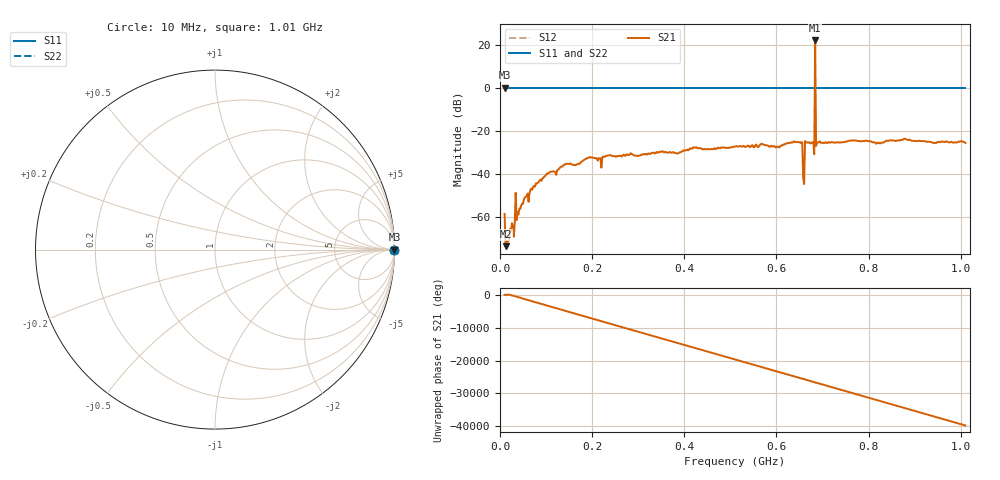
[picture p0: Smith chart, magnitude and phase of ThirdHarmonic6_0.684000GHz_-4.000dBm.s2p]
! 8/15/2025 10:48:43 PM
! C:\ANRITSUVNA\TEMP\TEMP.S2P
! CHANNEL.1
! TR.MEASUREMENT
! RAW.DATA
! RF.CORRECTION.OFF
! AVERAGING.OFF
! IF.BANDWIDTH: 5KHZ
! SWEEPTYPE:  FREQ.SWEEP(Linear)
! Reference Plane Port Info
! PORT:  PORT1  PORT2
! DISTANCE:  0  m  0  m
! TIME:  0  s  0  s
! PHASE.OFFSET:  0  deg.  0  deg.
! LOSS:  0  dB  0  dB
! REF.LOSS:  0  dB  0  dB
! REF.FREQ:  0  Hz  0  Hz
! Power Info
! POWER:  -20  dBm  -20  dBm
! EFF.POWER:  -20  dBm  -20  dBm
! SOURCE.ATTEN:  0  dB  0  dB
! TEST.ATTEN:  0  dB  0  dB
# GHZ S RI R 50.0
! FREQ.GHZ  S11RE  S11IM  S21RE  S21IM  S12RE  S12IM  S22RE  S22IM
!; PortSelection: Port_12
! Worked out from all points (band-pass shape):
!   501 points, 10 MHz to 1.01 GHz, reference 50 ohm
!   highest |S21| = 22.00 dB at 684 MHz (marker M1); lowest = -73.7 dB at 12 MHz (marker M2)
!   |S21| within 3 dB of the highest: 683.8866 MHz to 684.1222 MHz (235.6 kHz wide, 0.0344 % of centre)
!   lowest |S11| = 0.0 dB at 10 MHz (marker M3)
!   |S11| at or under -10 dB: nowhere
!   |S22| runs from 0.0 to 0.0 dB; largest |S21 - S12| = 13
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0.01  1 0  0.000733 0.000902  1 0  1 0
0.012  1 0  1.3e-05 0.000206  1 0  1 0
0.016  1 0  0.000271 -4.69e-05  1 0  1 0
0.038  1 0  -0.000638 0.00112  1 0  1 0
0.04  1 0  0.000719 0.000858  1 0  1 0
0.056  1 0  -0.000489 0.00282  1 0  1 0
0.082  1 0  -0.00308 0.00531  1 0  1 0
0.142  1 0  -0.0152 -0.00626  1 0  1 0
0.178  1 0  -0.0188 -0.00437  1 0  1 0
0.344  1 0  0.0303 -0.00733  1 0  1 0
0.51  1 0  -0.0404 0.0153  1 0  1 0
0.652  1 0  -0.0463 -0.0245  1 0  1 0
0.656  1 0  0.0361 0.039  1 0  1 0
0.662  1 0  -0.0549 0.0164  1 0  1 0
0.666  1 0  0.0528 0.0035  1 0  1 0
0.678  1 0  -0.0248 -0.0465  1 0  1 0
0.68  1 0  -0.0513 0.0179  1 0  1 0
0.684  1 0  -1.683 -12.47  1 0  1 0
0.688  1 0  -0.0513 -0.0153  1 0  1 0
0.69  1 0  -0.0235 0.0478  1 0  1 0
0.844  1 0  0.0443 0.0387  1 0  1 0
1.01  1 0  -0.0506 -0.0116  1 0  1 0
